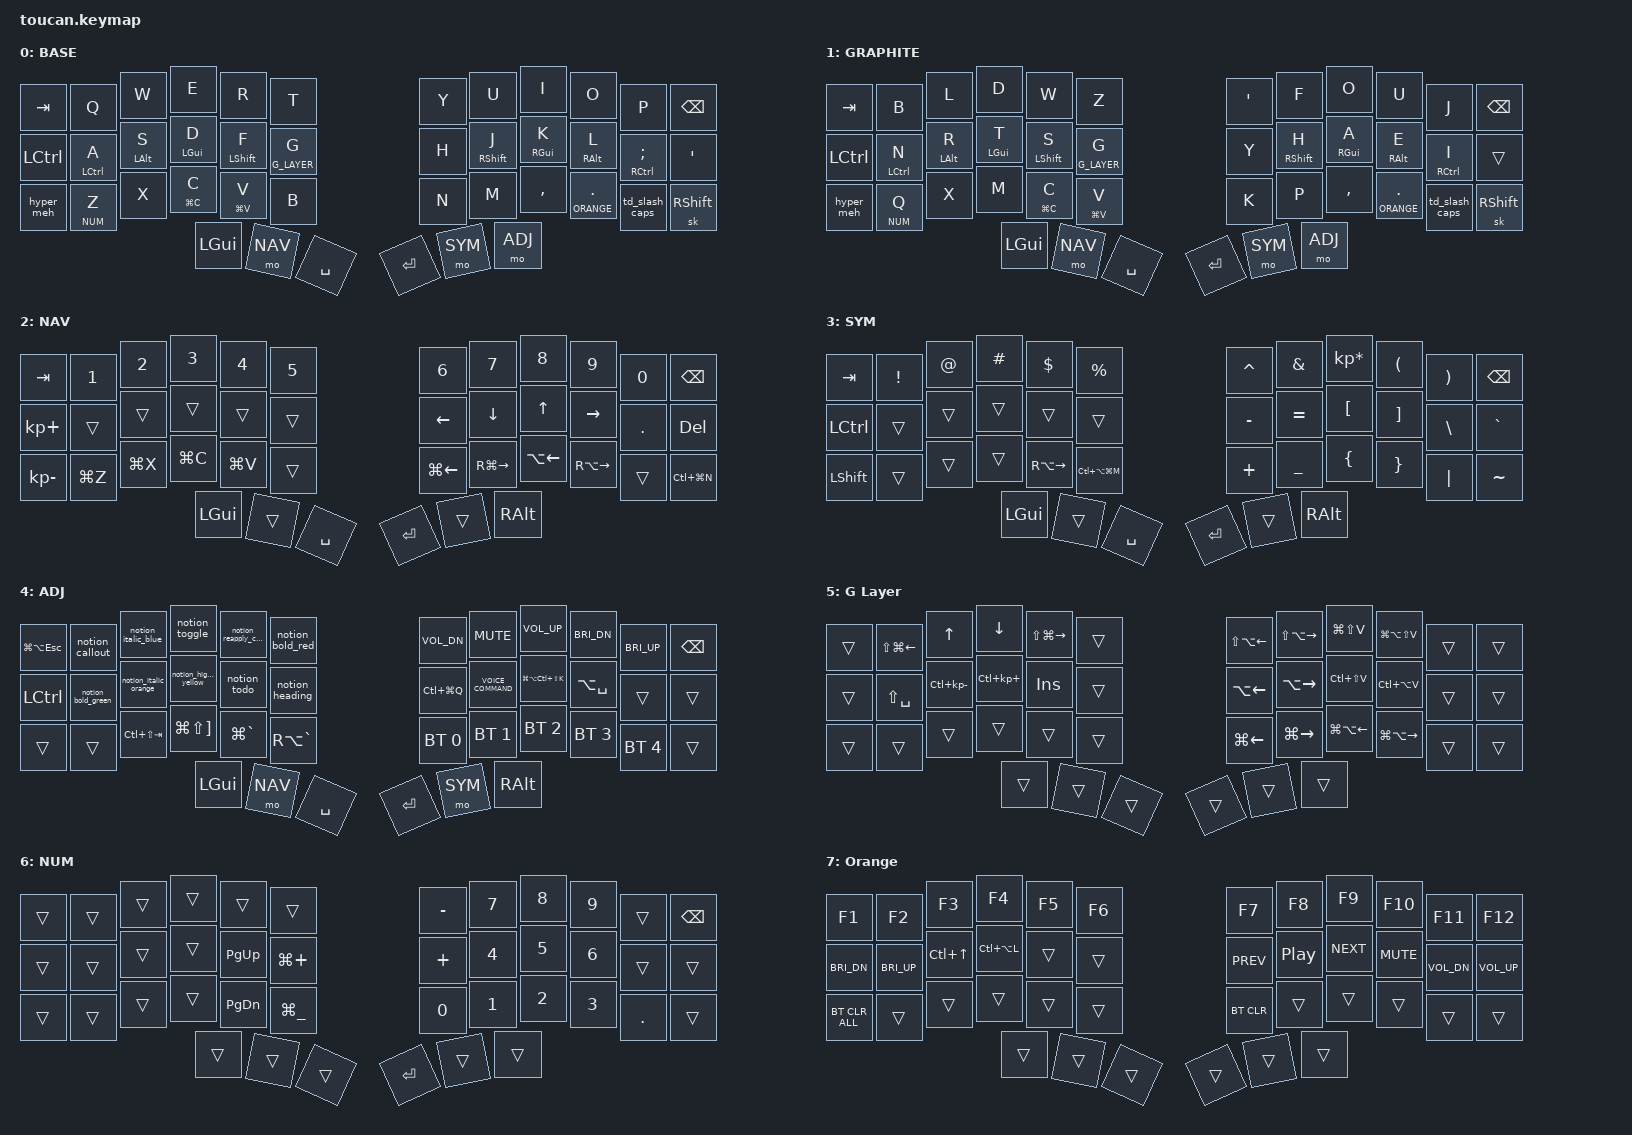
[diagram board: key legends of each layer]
#include <behaviors.dtsi>
#include <dt-bindings/zmk/bt.h>
#include <dt-bindings/zmk/keys.h>

#define BASE     0
#define GRAPHITE 1
#define NAV      2
#define SYM      3
#define ADJ      4
#define G_LAYER  5
#define NUM      6
#define ORANGE   7

/ {
    behaviors {
        lp_cpy: long_press_copy {
            compatible = "zmk,behavior-hold-tap";
            #binding-cells = <2>;
            tapping-term-ms = <500>;
            quick-tap-ms = <200>;
            flavor = "tap-preferred";
            bindings = <&kp>, <&kp>;
        };

        hrm: hrm {
            compatible = "zmk,behavior-hold-tap";
            #binding-cells = <2>;
            tapping-term-ms = <250>;
            quick-tap-ms = <175>;
            require-prior-idle-ms = <150>;
            flavor = "balanced";
            bindings = <&kp>, <&kp>;
        };

        hyper_meh: hyper_meh {
            compatible = "zmk,behavior-mod-morph";
            #binding-cells = <0>;
            bindings = <&kp LS(LC(LA(LGUI)))>, <&kp LS(LC(LALT))>;
            mods = <(MOD_LSFT|MOD_RSFT)>;
        };

        td_slash_caps: td_slash_caps {
            compatible = "zmk,behavior-tap-dance";
            #binding-cells = <0>;
            tapping-term-ms = <200>;
            bindings = <&kp FSLH>, <&kp CAPS>;
        };

        lt_fn: lt_fn {
            compatible = "zmk,behavior-hold-tap";
            #binding-cells = <2>;
            tapping-term-ms = <500>;
            quick-tap-ms = <200>;
            flavor = "tap-preferred";
            bindings = <&mo>, <&kp>;
        };

        notion_callout: notion_callout {
            compatible = "zmk,behavior-macro";
            #binding-cells = <0>;
            wait-ms = <30>;
            tap-ms = <30>;
            bindings
                = <&kp FSLH>
                , <&kp C>
                , <&kp A>
                , <&kp L>
                , <&kp L>
                , <&kp O>
                , <&kp U>
                , <&kp T>
                , <&kp RET>
                ;
        };

        notion_toggle: notion_toggle {
            compatible = "zmk,behavior-macro";
            #binding-cells = <0>;
            wait-ms = <30>;
            tap-ms = <30>;
            bindings
                = <&kp GT>
                , <&kp SPACE>
                ;
        };

        notion_italic_blue: notion_italic_blue {
            compatible = "zmk,behavior-macro";
            #binding-cells = <0>;
            wait-ms = <30>;
            tap-ms = <30>;
            bindings
                = <&kp FSLH>
                , <&kp B>
                , <&kp L>
                , <&kp U>
                , <&kp E>
                , <&kp RET>
                , <&kp LG(A)>
                , <&kp LG(I)>
                ;
        };

        notion_bold_red: notion_bold_red {
            compatible = "zmk,behavior-macro";
            #binding-cells = <0>;
            wait-ms = <30>;
            tap-ms = <30>;
            bindings
                = <&kp FSLH>
                , <&kp R>
                , <&kp E>
                , <&kp D>
                , <&kp RET>
                , <&kp LG(A)>
                , <&kp LG(B)>
                ;
        };

        notion_reapply_color: notion_reapply_color {
            compatible = "zmk,behavior-macro";
            #binding-cells = <0>;
            wait-ms = <30>;
            tap-ms = <30>;
            bindings
                = <&kp LG(A)>
                , <&kp LG(LS(H))>
                ;
        };

        notion_bold_green: notion_bold_green {
            compatible = "zmk,behavior-macro";
            #binding-cells = <0>;
            wait-ms = <30>;
            tap-ms = <30>;
            bindings
                = <&kp FSLH>
                , <&kp G>
                , <&kp R>
                , <&kp E>
                , <&kp E>
                , <&kp N>
                , <&kp RET>
                , <&kp LG(A)>
                , <&kp LG(B)>
                ;
        };

        notion_italic_orange: notion_italic_orange {
            compatible = "zmk,behavior-macro";
            #binding-cells = <0>;
            wait-ms = <30>;
            tap-ms = <30>;
            bindings
                = <&kp FSLH>
                , <&kp O>
                , <&kp R>
                , <&kp A>
                , <&kp N>
                , <&kp G>
                , <&kp E>
                , <&kp RET>
                , <&kp LG(A)>
                , <&kp LG(I)>
                ;
        };

        notion_highlight_yellow: notion_highlight_yellow {
            compatible = "zmk,behavior-macro";
            #binding-cells = <0>;
            wait-ms = <30>;
            tap-ms = <30>;
            bindings
                = <&kp FSLH>
                , <&kp Y>
                , <&kp E>
                , <&kp L>
                , <&kp L>
                , <&kp O>
                , <&kp W>
                , <&kp SPACE>
                , <&kp B>
                , <&kp A>
                , <&kp C>
                , <&kp K>
                , <&kp G>
                , <&kp R>
                , <&kp O>
                , <&kp U>
                , <&kp N>
                , <&kp D>
                , <&kp RET>
                ;
        };

        notion_todo: notion_todo {
            compatible = "zmk,behavior-macro";
            #binding-cells = <0>;
            wait-ms = <30>;
            tap-ms = <30>;
            bindings
                = <&kp LBKT>
                , <&kp RBKT>
                , <&kp SPACE>
                ;
        };

        notion_heading: notion_heading {
            compatible = "zmk,behavior-macro";
            #binding-cells = <0>;
            wait-ms = <30>;
            tap-ms = <30>;
            bindings
                = <&kp HASH>
                , <&kp HASH>
                , <&kp SPACE>
                ;
        };

    };

    combos {
        compatible = "zmk,combos";

        combo_esc_df {
            timeout-ms = <50>;
            key-positions = <15 16>;
            bindings = <&kp ESC>;
        };

        combo_esc_jk {
            timeout-ms = <50>;
            key-positions = <19 20>;
            bindings = <&kp ESC>;
        };

        combo_orange {
            timeout-ms = <50>;
            key-positions = <34 35>;
            layers = <BASE GRAPHITE>;
            bindings = <&mo ORANGE>;
        };

        combo_graphite_toggle {
            timeout-ms = <50>;
            key-positions = <29 32>;
            layers = <BASE GRAPHITE>;
            bindings = <&tog GRAPHITE>;
        };
    };

    keymap {
        compatible = "zmk,keymap";

        base {
            display-name = "BASE";
            bindings = <
&kp TAB &kp Q  &kp W  &kp E  &kp R  &kp T  &kp Y  &kp U  &kp I  &kp O  &kp P  &kp BSPC  &kp LEFT_CONTROL  &hrm LCTRL A  &hrm LALT S  &hrm LGUI D  &hrm LSHFT F  &lt G_LAYER G  &kp H  &hrm RSHFT J  &hrm RGUI K  &hrm RALT L  &hrm RCTRL SEMI  &kp SQT  &hyper_meh  &lt NUM Z  &kp X  &lp_cpy LG(C) C  &lp_cpy LG(V) V  &kp B  &kp N  &kp M  &kp COMMA  &lt_fn ORANGE DOT  &td_slash_caps  &sk RSHFT  &kp LGUI  &mo NAV  &kp SPACE  &kp RET  &mo SYM  &mo ADJ
            >;
        };

        graphite {
            display-name = "GRAPHITE";
            bindings = <
&kp TAB &kp B  &kp L  &kp D  &kp W  &kp Z  &kp SQT  &kp F  &kp O  &kp U  &kp J  &kp BSPC  &kp LEFT_CONTROL  &hrm LCTRL N  &hrm LALT R  &hrm LGUI T  &hrm LSHFT S  &lt G_LAYER G  &kp Y  &hrm RSHFT H  &hrm RGUI A  &hrm RALT E  &hrm RCTRL I  &trans  &hyper_meh  &lt NUM Q  &kp X  &kp M  &lp_cpy LG(C) C  &lp_cpy LG(V) V  &kp K  &kp P  &kp COMMA  &lt_fn ORANGE DOT  &td_slash_caps  &sk RSHFT  &kp LGUI  &mo NAV  &kp SPACE  &kp RET  &mo SYM  &mo ADJ
            >;
        };

        nav {
            display-name = "NAV";
            bindings = <
&kp TAB  &kp N1  &kp N2  &kp N3  &kp N4  &kp N5  &kp N6  &kp N7  &kp N8  &kp N9  &kp N0  &kp BSPC  &kp KP_PLUS  &trans  &trans  &trans  &trans  &trans  &kp LEFT  &kp DOWN  &kp UP  &kp RIGHT  &kp DOT  &kp DEL  &kp KP_MINUS  &kp LG(Z)  &kp LG(X)  &kp LG(C)  &kp LG(V)  &trans  &kp LG(LEFT_ARROW)  &kp RG(RIGHT_ARROW)  &kp LA(LEFT_ARROW)  &kp RA(RIGHT_ARROW)  &trans  &kp LC(LG(N))  &kp LGUI  &trans  &kp SPACE  &kp RET  &trans  &kp RALT
            >;
        };

        sym {
            display-name = "SYM";
            bindings = <
&kp TAB  &kp EXCL  &kp AT  &kp HASH  &kp DLLR  &kp PRCNT  &kp CARET  &kp AMPS  &kp KP_MULTIPLY  &kp LPAR  &kp RPAR  &kp BSPC  &kp LCTRL  &trans  &trans  &trans  &trans  &trans  &kp MINUS  &kp EQUAL  &kp LBKT  &kp RBKT  &kp BSLH  &kp GRAVE  &kp LSHFT  &trans  &trans  &trans  &kp RA(RIGHT_ARROW)  &kp LC(LA(LG(M)))  &kp PLUS  &kp UNDER  &kp LBRC  &kp RBRC  &kp PIPE  &kp TILDE  &kp LGUI  &trans  &kp SPACE  &kp RET  &trans  &kp RALT
            >;
        };

        adj {
            display-name = "ADJ";
            bindings = <
&kp LG(LA(ESC))  &notion_callout  &notion_italic_blue  &notion_toggle  &notion_reapply_color  &notion_bold_red  &kp C_VOL_DN  &kp C_MUTE  &kp C_VOL_UP  &kp C_BRI_DN  &kp C_BRI_UP  &kp BSPC  &kp LCTRL  &notion_bold_green  &notion_italic_orange  &notion_highlight_yellow  &notion_todo  &notion_heading  &kp LC(LG(Q))  &kp C_VOICE_COMMAND  &kp LG(LA(LC(LS(K))))  &kp LA(SPACE)  &trans  &trans  &trans  &trans  &kp LC(LS(TAB))  &kp LG(LS(RBKT))  &kp LG(GRAVE)  &kp RA(GRAVE)  &bt BT_SEL 0  &bt BT_SEL 1  &bt BT_SEL 2  &bt BT_SEL 3  &bt BT_SEL 4  &trans  &kp LGUI  &mo NAV  &kp SPACE  &kp RET  &mo SYM  &kp RALT
            >;
        };

        g_layer {
            display-name = "G Layer";

            // Source F-Nav compressed onto Toucan:
            //
            // Toucan top-left  = source top row:  ⇧⌘←  ↑  ↓  ⇧⌘→
            // Toucan top-right = source 2nd row:  ⇧⌥←  ⇧⌥→  ⌘⇧V(mac plain)  ⌘⌥⇧V(mac match)
            // Toucan mid-left  = row ops:         sel-row  del-row  ins-excel  ins-proj
            // Toucan mid-right = source 3rd row:  ⌥←   ⌥→   ⌃⇧V(win plain)  ⌃⌥V(win special)
            // Toucan low-right = source 4th row:  ⌘←   ⌘→
            // Toucan low-right (, / . keys)      = ⌥⌘←  ⌥⌘→  (moved from NUM layer)

            bindings = <
&trans  &kp LS(LG(LEFT))  &kp UP  &kp DOWN  &kp LS(LG(RIGHT))  &trans  &kp LS(LA(LEFT))  &kp LS(LA(RIGHT))  &kp LG(LS(V))  &kp LG(LA(LS(V)))  &trans  &trans  &trans  &kp LS(SPACE)  &kp LC(KP_MINUS)  &kp LC(KP_PLUS)  &kp INS  &trans  &kp LA(LEFT)  &kp LA(RIGHT)  &kp LC(LS(V))  &kp LC(LA(V))  &trans  &trans  &trans  &trans  &trans  &trans  &trans  &trans  &kp LG(LEFT)  &kp LG(RIGHT)  &kp LG(LA(LEFT))  &kp LG(LA(RIGHT))  &trans  &trans  &trans  &trans  &trans  &trans  &trans  &trans
            >;
        };

        num_pad {
            display-name = "NUM";
            bindings = <
&trans  &trans  &trans  &trans  &trans  &trans  &kp MINUS  &kp N7  &kp N8  &kp N9  &trans  &kp BSPC  &trans  &trans  &trans  &trans  &kp PG_UP  &kp LG(PLUS)  &kp PLUS  &kp N4  &kp N5  &kp N6  &trans  &trans  &trans  &trans  &trans  &trans  &kp PG_DN  &kp LG(UNDER)  &kp N0  &kp N1  &kp N2  &kp N3  &kp DOT  &trans  &trans  &trans  &trans  &kp RET  &trans  &trans
            >;
        };

        orange {
            display-name = "Orange";
            bindings = <
&kp F1  &kp F2  &kp F3  &kp F4  &kp F5  &kp F6  &kp F7  &kp F8  &kp F9  &kp F10  &kp F11  &kp F12  &kp C_BRI_DN  &kp C_BRI_UP  &kp LC(UP)  &kp LC(LA(L))  &trans  &trans  &kp C_PREV  &kp C_PP  &kp C_NEXT  &kp C_MUTE  &kp C_VOL_DN  &kp C_VOL_UP  &bt BT_CLR_ALL  &trans  &trans  &trans  &trans  &trans  &bt BT_CLR  &trans  &trans  &trans  &trans  &trans  &trans  &trans  &trans  &trans  &trans  &trans
            >;
        };
    };
};
